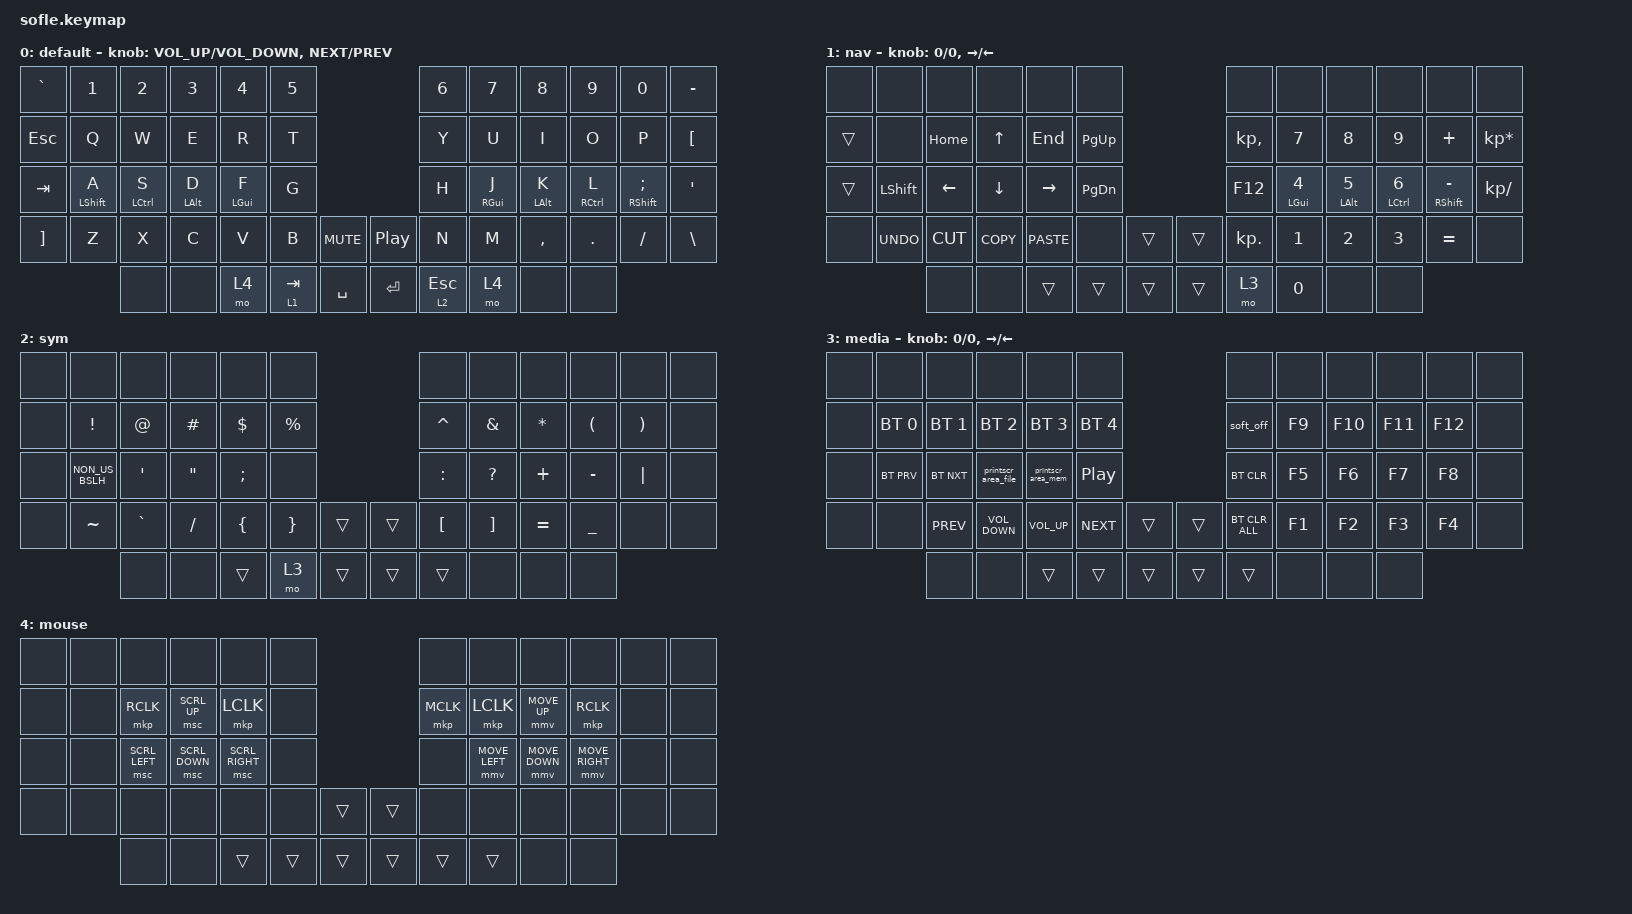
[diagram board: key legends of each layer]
#define ZMK_POINTING_DEFAULT_MOVE_VAL 600
#define ZMK_POINTING_DEFAULT_SCRL_VAL 20

#include <behaviors.dtsi>
#include <dt-bindings/zmk/bt.h>
#include <dt-bindings/zmk/keys.h>
#include <dt-bindings/zmk/outputs.h>
#include <dt-bindings/zmk/pointing.h>
#include <input/processors.dtsi>

&soft_off { split-peripheral-off-on-press; };

&mmv {
    acceleration-exponent = <1>;
    time-to-max-speed-ms = <500>;
    delay-ms = <0>;
};

&msc {
    acceleration-exponent = <0>;
    time-to-max-speed-ms = <300>;
    delay-ms = <0>;
};

&mmv_input_listener { input-processors = <&zip_xy_scaler 3 1>; };

&msc_input_listener { input-processors = <&zip_scroll_scaler 2 1>; };

/ {
    combos {
        compatible = "zmk,combos";

        CapsWord {
            bindings = <&caps_word>;
            key-positions = <25 34>;
            layers = <0>;
        };

        backspace {
            bindings = <&kp BACKSPACE>;
            key-positions = <20 21>;
            layers = <0 1>;
        };

        delete {
            bindings = <&kp DELETE>;
            key-positions = <15 14>;
            layers = <0 1>;
        };

        right_bracket {
            bindings = <&kp RIGHT_BRACKET>;
            key-positions = <17 16>;
            layers = <0>;
        };

        left_bracket {
            bindings = <&kp LEFT_BRACKET>;
            key-positions = <16 15>;
            layers = <0>;
        };

        brackets {
            bindings = <&macro_brackets>;
            key-positions = <17 15>;
            layers = <0>;
        };

        left_parentheses {
            bindings = <&kp LEFT_PARENTHESIS>;
            key-positions = <18 19>;
            layers = <0>;
        };

        right_parentheses {
            bindings = <&kp RIGHT_PARENTHESIS>;
            key-positions = <19 20>;
            layers = <0>;
        };

        parentheses {
            bindings = <&macro_parentheses>;
            key-positions = <18 20>;
            layers = <0>;
        };

        left_brace {
            bindings = <&kp LEFT_BRACE>;
            key-positions = <39 40>;
            layers = <0>;
        };

        right_brace {
            bindings = <&kp RIGHT_BRACE>;
            key-positions = <41 40>;
            layers = <0>;
        };

        braces {
            bindings = <&macro_braces>;
            key-positions = <41 39>;
            layers = <0>;
        };

        lt {
            bindings = <&kp LESS_THAN>;
            key-positions = <44 45>;
            layers = <0>;
        };

        gt {
            bindings = <&kp GREATER_THAN>;
            key-positions = <45 46>;
            layers = <0>;
        };

        ltgt {
            bindings = <&macro_ltgt>;
            key-positions = <44 46>;
            layers = <0>;
        };

        slash {
            bindings = <&kp SLASH>;
            key-positions = <15 26>;
            layers = <0>;
        };

        backslash {
            bindings = <&kp BSLH>;
            key-positions = <20 33>;
            layers = <0>;
        };
    };

    behaviors {
        hmr: hmr {
            compatible = "zmk,behavior-hold-tap";
            label = "HMR";
            bindings = <&kp>, <&kp>;

            #binding-cells = <2>;
            tapping-term-ms = <150>;
            flavor = "balanced";
            hold-trigger-key-positions = <13 14 15 16 17 26 27 28 29 41 38 39 40 25 37 0 1 2 3 4 5 12 13 14 15 16 17 24 25 26 27 28 29 38 39 40 41 36>;
        };

        hml: hml {
            compatible = "zmk,behavior-hold-tap";
            label = "HML";
            bindings = <&kp>, <&kp>;

            #binding-cells = <2>;
            tapping-term-ms = <150>;
            flavor = "balanced";
            hold-trigger-key-positions = <18 19 20 21 22 30 31 32 33 34 46 44 45 46 47 48 6 7 8 9 10 11 18 19 20 21 22 23 30 31 32 33 34 35 44 45 46 47 48 49>;
        };
    };

    soft_off_wakers {
        compatible = "zmk,soft-off-wakeup-sources";
        wakeup-sources = <&kscan0>;
    };

    macros {
        printscr_area_mem: printscr_mem {
            compatible = "zmk,behavior-macro";
            #binding-cells = <0>;
            bindings = <&kp LG(LC(LS(NUMBER_4)))>;
            label = "PRINTSCR_MEM";
        };

        printscr_area_file: printscr_file {
            compatible = "zmk,behavior-macro";
            #binding-cells = <0>;
            bindings = <&kp LG(LS(NUMBER_4))>;
            label = "PRINTSCR_FILE";
        };

        macro_brackets: macro_brackets {
            compatible = "zmk,behavior-macro";
            #binding-cells = <0>;
            bindings = <&kp LEFT_BRACKET &kp RIGHT_BRACKET &kp LEFT>;
            label = "MACRO_BRACKETS";
        };

        macro_parentheses: macro_parentheses {
            compatible = "zmk,behavior-macro";
            #binding-cells = <0>;
            bindings = <&kp LEFT_PARENTHESIS &kp RIGHT_PARENTHESIS &kp LEFT>;
            label = "MACRO_PARENTHESES";
        };

        macro_braces: macro_braces {
            compatible = "zmk,behavior-macro";
            #binding-cells = <0>;
            bindings = <&kp LEFT_BRACE &kp RIGHT_BRACE &kp LEFT>;
            label = "MACRO_BRACES";
        };

        macro_ltgt: macro_ltgt {
            compatible = "zmk,behavior-macro";
            #binding-cells = <0>;
            bindings = <&kp LESS_THAN &kp GREATER_THAN &kp LEFT>;
            label = "MACRO_LTGT";
        };
    };

    keymap {
        compatible = "zmk,keymap";

        default_layer {
            display-name = "default";
            bindings = <
&kp GRAVE          &kp N1             &kp N2        &kp N3           &kp N4           &kp N5                                     &kp N6     &kp N7            &kp N8           &kp N9        &kp N0                 &kp MINUS
&kp ESC            &kp Q              &kp W         &kp E            &kp R            &kp T                                      &kp Y      &kp U             &kp I            &kp O         &kp P                  &kp LEFT_BRACKET
&kp TAB            &hml LEFT_SHIFT A  &hml LCTRL S  &hml LEFT_ALT D  &hml LEFT_GUI F  &kp G                                      &kp H      &hmr RIGHT_GUI J  &hmr LEFT_ALT K  &hmr RCTRL L  &hmr RIGHT_SHIFT SEMI  &kp SQT
&kp RIGHT_BRACKET  &kp Z              &kp X         &kp C            &kp V            &kp B      &kp C_MUTE    &kp C_PLAY_PAUSE  &kp N      &kp M             &kp COMMA        &kp DOT       &kp FSLH               &kp BSLH
                                      &none         &none            &mo 4            &lt 1 TAB  &kp SPACE     &kp RET           &lt 2 ESC  &mo 4             &none            &none
            >;

            sensor-bindings =
                <&inc_dec_kp C_VOLUME_UP C_VOLUME_DOWN>,
                <&inc_dec_kp C_NEXT C_PREV>;
        };

        nav_num {
            display-name = "nav";
            bindings = <
&none   &none           &none      &none       &none        &none                            &none         &none                   &none             &none          &none                   &none
&trans  &none           &kp HOME   &kp UP      &kp END      &kp PAGE_UP                      &kp KP_COMMA  &kp N7                  &kp N8            &kp N9         &kp PLUS                &kp KP_MULTIPLY
&trans  &kp LEFT_SHIFT  &kp LEFT   &kp DOWN    &kp RIGHT    &kp PAGE_DOWN                    &kp F12       &hmr LEFT_GUI NUMBER_4  &hmr LEFT_ALT N5  &hmr LCTRL N6  &hmr RIGHT_SHIFT MINUS  &kp KP_DIVIDE
&none   &kp K_UNDO      &kp K_CUT  &kp K_COPY  &kp K_PASTE  &none          &trans    &trans  &kp KP_DOT    &kp N1                  &kp N2            &kp N3         &kp EQUAL               &none
                        &none      &none       &trans       &trans         &trans    &trans  &mo 3         &kp N0                  &none             &none
            >;

            sensor-bindings = <&inc_dec_kp 0 0>, <&inc_dec_kp RIGHT LEFT>;
        };

        symbols {
            display-name = "sym";
            bindings = <
&none  &none            &none      &none              &none           &none                              &none             &none              &none      &none                 &none                  &none
&none  &kp EXCL         &kp AT     &kp HASH           &kp DOLLAR      &kp PERCENT                        &kp CARET         &kp AMPS           &kp ASTRK  &kp LEFT_PARENTHESIS  &kp RIGHT_PARENTHESIS  &none
&none  &kp NON_US_BSLH  &kp SQT    &kp DOUBLE_QUOTES  &kp SEMICOLON   &none                              &kp COLON         &kp QUESTION       &kp PLUS   &kp MINUS             &kp PIPE               &none
&none  &kp TILDE        &kp GRAVE  &kp SLASH          &kp LEFT_BRACE  &kp RIGHT_BRACE  &trans    &trans  &kp LEFT_BRACKET  &kp RIGHT_BRACKET  &kp EQUAL  &kp UNDER             &none                  &none
                        &none      &none              &trans          &mo 3            &trans    &trans  &trans            &none              &none      &none
            >;
        };

        multimedia_fn {
            display-name = "media";
            bindings = <
&none  &none         &none         &none                &none               &none                               &none           &none   &none    &none    &none    &none
&none  &bt BT_SEL 0  &bt BT_SEL 1  &bt BT_SEL 2         &bt BT_SEL 3        &bt BT_SEL 4                        &soft_off       &kp F9  &kp F10  &kp F11  &kp F12  &none
&none  &bt BT_PRV    &bt BT_NXT    &printscr_area_file  &printscr_area_mem  &kp C_PLAY_PAUSE                    &bt BT_CLR      &kp F5  &kp F6   &kp F7   &kp F8   &none
&none  &none         &kp C_PREV    &kp C_VOLUME_DOWN    &kp C_VOLUME_UP     &kp C_NEXT        &trans    &trans  &bt BT_CLR_ALL  &kp F1  &kp F2   &kp F3   &kp F4   &none
                     &none         &none                &trans              &trans            &trans    &trans  &trans          &none   &none    &none
            >;

            sensor-bindings = <&inc_dec_kp 0 0>, <&inc_dec_kp RIGHT LEFT>;
        };

        mouse {
            display-name = "mouse";
            bindings = <
&none  &none  &none           &none           &none            &none                     &none      &none           &none           &none            &none  &none
&none  &none  &mkp RCLK       &msc SCRL_UP    &mkp LCLK        &none                     &mkp MCLK  &mkp LCLK       &mmv MOVE_UP    &mkp RCLK        &none  &none
&none  &none  &msc SCRL_LEFT  &msc SCRL_DOWN  &msc SCRL_RIGHT  &none                     &none      &mmv MOVE_LEFT  &mmv MOVE_DOWN  &mmv MOVE_RIGHT  &none  &none
&none  &none  &none           &none           &none            &none   &trans    &trans  &none      &none           &none           &none            &none  &none
              &none           &none           &trans           &trans  &trans    &trans  &trans     &trans          &none           &none
            >;
        };
    };
};
